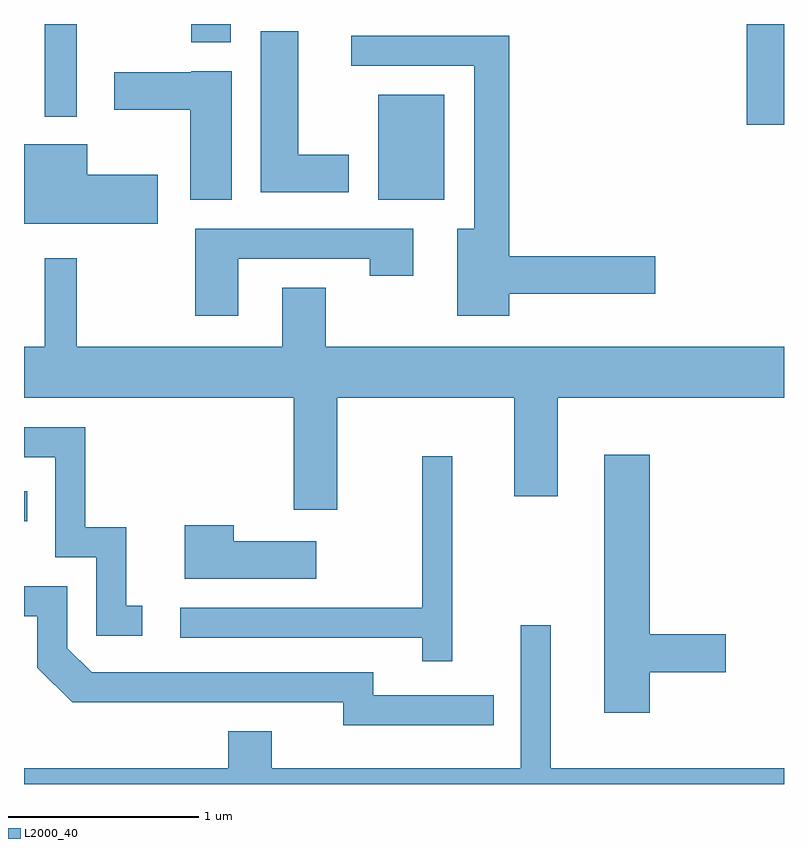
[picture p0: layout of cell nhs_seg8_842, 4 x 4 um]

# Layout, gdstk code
import gdstk
lib = gdstk.Library(unit=1e-6, precision=1e-09)
def R(c, l, rs):  # rectangles x0, y0, x1, y1
    for r in rs: c.add(gdstk.rectangle(r[:2], r[2:], *l))
def P(c, l, *ps):  # polygons
    for p in ps: c.add(gdstk.Polygon(p, *l))
L2000_40 = (2000, 40)

nhs_seg8_842 = lib.new_cell('nhs_seg8_842')
R(nhs_seg8_842, L2000_40, [(209.611,1875.726,209.628,1875.884), (211.476,1877.416,211.824,1877.969), (213.416,1877.811,213.611,1878.342), (209.721,1877.853,209.889,1878.342), (210.491,1878.246,210.699,1878.342)])
P(nhs_seg8_842, L2000_40, [(211.319,1877.654),(211.054,1877.654),(211.054,1878.304),(210.856,1878.304),(210.856,1877.456),(211.319,1877.456)],
  [(212.164,1876.921),(212.934,1876.921),(212.934,1877.119),(212.164,1877.119),(212.164,1878.279),(211.333,1878.279),(211.333,1878.121),(211.981,1878.121),(211.981,1877.264),(211.891,1877.264),(211.891,1876.806),(212.164,1876.806)],
  [(210.704,1878.094),(210.49,1878.094),(210.49,1878.089),(210.086,1878.089),(210.086,1877.891),(210.486,1877.891),(210.486,1877.416),(210.704,1877.416)],
  [(210.314,1877.549),(209.944,1877.549),(209.944,1877.709),(209.611,1877.709),(209.611,1877.291),(210.314,1877.291)],
  [(210.739,1877.106),(211.431,1877.106),(211.431,1877.016),(211.659,1877.016),(211.659,1877.264),(210.511,1877.264),(210.511,1876.806),(210.739,1876.806)],
  [(211.259,1876.376),(212.191,1876.376),(212.191,1875.856),(212.419,1875.856),(212.419,1876.376),(213.611,1876.376),(213.611,1876.644),(211.199,1876.644),(211.199,1876.954),(210.971,1876.954),(210.971,1876.644),(209.889,1876.644),(209.889,1877.108),(209.721,1877.108),(209.721,1876.644),(209.611,1876.644),(209.611,1876.376),(211.031,1876.376),(211.031,1875.786),(211.259,1875.786)],
  [(210.233,1875.279),(210.149,1875.279),(210.149,1875.694),(209.934,1875.694),(209.934,1876.219),(209.611,1876.219),(209.611,1876.061),(209.776,1876.061),(209.776,1875.536),(209.991,1875.536),(209.991,1875.121),(210.233,1875.121)],
  [(212.904,1874.931),(213.304,1874.931),(213.304,1875.129),(212.904,1875.129),(212.904,1876.074),(212.666,1876.074),(212.666,1874.716),(212.904,1874.716)],
  [(211.864,1876.068),(211.706,1876.068),(211.706,1875.269),(210.433,1875.269),(210.433,1875.111),(211.706,1875.111),(211.706,1874.988),(211.864,1874.988)],
  [(211.149,1875.619),(210.714,1875.619),(210.714,1875.704),(210.456,1875.704),(210.456,1875.421),(211.149,1875.421)],
  [(212.083,1874.809),(211.449,1874.809),(211.449,1874.929),(209.967,1874.929),(209.839,1875.057),(209.839,1875.384),(209.611,1875.384),(209.611,1875.226),(209.681,1875.226),(209.681,1874.954),(209.864,1874.771),(211.291,1874.771),(211.291,1874.651),(212.083,1874.651)],
  [(213.611,1874.424),(212.384,1874.424),(212.384,1875.178),(212.226,1875.178),(212.226,1874.424),(210.914,1874.424),(210.914,1874.619),(210.686,1874.619),(210.686,1874.424),(209.611,1874.424),(209.611,1874.342),(213.611,1874.342)])

lib.write_gds('nhs_seg8_842.gds')
